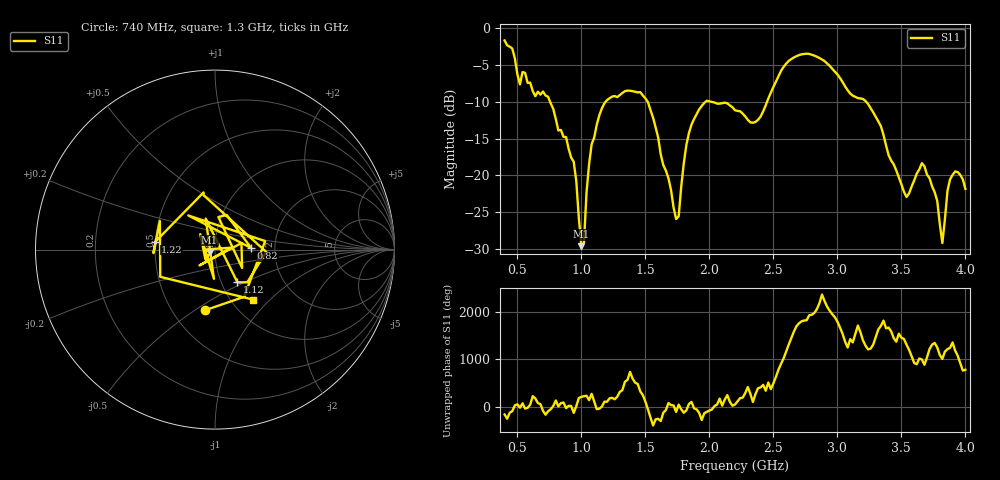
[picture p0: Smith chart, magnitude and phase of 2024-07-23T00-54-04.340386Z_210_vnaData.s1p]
!Created with skrf (http://scikit-rf.org).
# Hz S RI R 50.0
!freq ReS11 ImS11
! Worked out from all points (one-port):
!   181 points, 400 MHz to 4 GHz, reference 50 ohm
!   lowest |S11| = -29.6 dB at 1 GHz (marker M1), VSWR 1.07, Z = 47 - j1.23 ohm
!   |S11| at or under -10 dB: 755.5 MHz to 1.189 GHz (433.2 MHz wide, 44.6 % of centre); 1.518 GHz to 1.97 GHz (451.5 MHz wide, 25.9 % of centre); 3.225 GHz to end of sweep (the widest 3 of 4)
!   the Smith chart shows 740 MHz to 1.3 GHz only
!   S11 on the Smith chart (normalised r, x): 740 MHz: 0.72, -0.55; 820 MHz: 1.51, +0.03; 1.12 GHz: 1.19, -0.46; 1.22 GHz: 0.50, +0.05; 1.3 GHz: 1.26, -0.80
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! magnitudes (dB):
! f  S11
! 400 MHz  -1.6
! 520 MHz  -7.6
! 740 MHz  -9.3
! 820 MHz  -13.9
! 860 MHz  -14.8
! 940 MHz  -18.2
! 1 GHz  -29.6
! 1.02 GHz  -29.2
! 1.06 GHz  -18.5
! 1.12 GHz  -13.1
! 1.22 GHz  -9.5
! 1.3 GHz  -9.1
! 1.52 GHz  -10.0
! 1.76 GHz  -25.6
! 1.82 GHz  -15.9
! 1.9 GHz  -11.7
! 2.2 GHz  -11.1
! 2.38 GHz  -12.4
! 2.66 GHz  -4.0
! 2.9 GHz  -4.5
! 3.1 GHz  -8.9
! 3.28 GHz  -11.4
! 3.56 GHz  -22.5
! 3.68 GHz  -18.8
! 3.78 GHz  -23.5
! 3.82 GHz  -29.2
! 3.88 GHz  -20.6
! 4 GHz  -21.8
